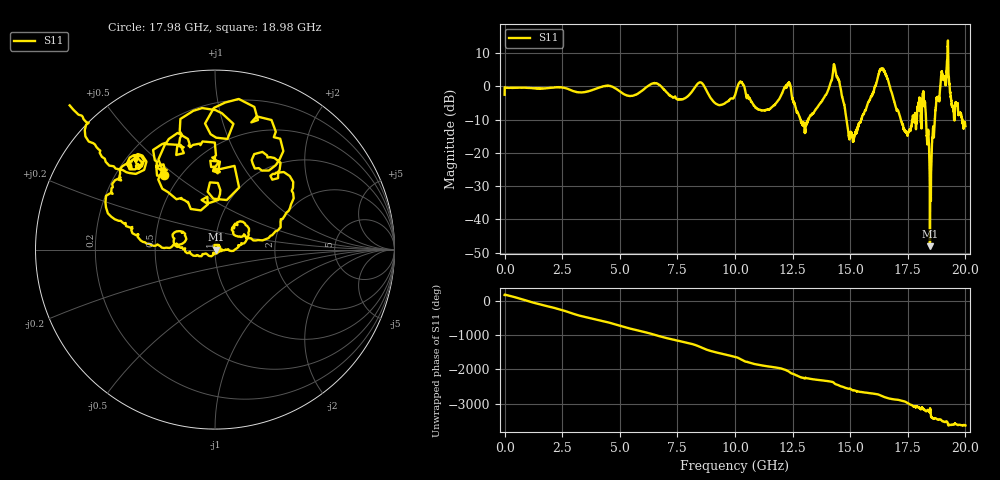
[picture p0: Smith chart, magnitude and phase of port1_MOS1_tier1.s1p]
! Created with skrf 1.8.0 (http://scikit-rf.org).
# GHz S RI R 50.0
!freq ReS11 ImS11
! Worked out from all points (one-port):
!   10001 points, 1 MHz to 20 GHz, reference 50 ohm
!   lowest |S11| = -48.1 dB at 18.46 GHz (marker M1), VSWR 1.01, Z = 50.4 - j0.0135 ohm
!   |S11| at or under -10 dB: 14.84 GHz to 15.48 GHz (639.4 MHz wide, 4.22 % of centre); 17.2 GHz to 17.7 GHz (506.9 MHz wide, 2.9 % of centre); 18.29 GHz to 18.67 GHz (379.3 MHz wide, 2.05 % of centre) (the widest 3 of 20)
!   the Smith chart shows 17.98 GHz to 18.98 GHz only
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0.001  -0.7277 0.1727
0.9269537  0.9432 0.1357
1.480926  -0.1476 -0.9236
2.500875  0.0573 0.96
3.270837  0.1517 -0.7968
4.0068  -0.9064 0.2168
5.00075  0.829 -0.133
5.986701  -0.8703 0.007
6.508675  0.0619 1.122
7.500625  0.0823 -0.6307
8.478576  -0.0762 1.148
9.136543  0.2813 -0.4841
10.0005  -0.7039 0.2012
10.46248  0.7499 0.3049
12.0884  -0.8424 0.1821
12.50038  0.567 0.3451
13.77031  -0.5708 -0.1683
14.37028  0.1519 1.635
15.00025  0.134 -0.137
15.9622  -0.7575 0.0969
16.40218  -0.0908 1.81
16.64617  1.01 0.7168
17.50013  -0.0517 -0.1866
18.46208  0.00394 -0.000134
18.87606  -0.5296 0.4464
19.13804  0.4907 0.9439
19.34403  0.7594 -0.2976
20  0.2022 -0.1503
